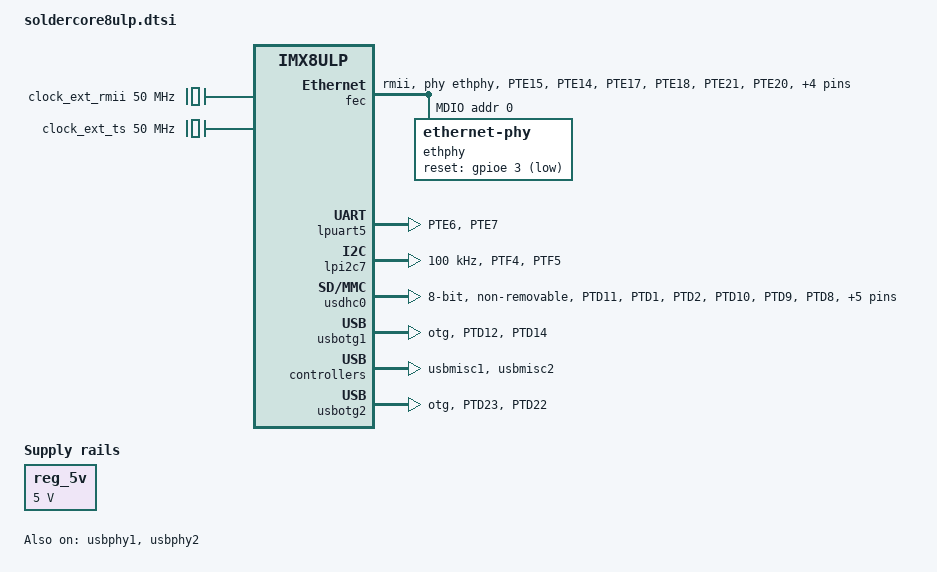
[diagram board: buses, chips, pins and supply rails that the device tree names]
/*
 * Copyright (C) 2024 F&S Elektronik Systeme GmbH
 *
 * This program is free software; you can redistribute it and/or modify
 * it under the terms of the GNU General Public License version 2 as
 * published by the Free Software Foundation.
 */

/dts-v1/;

#include "imx8ulp.dtsi"

/ {
	chosen {
		stdout-path = &lpuart5;
		bootargs = "console=ttyLP1,115200 earlycon";
	};

	reserved-memory {
		#address-cells = <2>;
		#size-cells = <2>;
		ranges;

		linux,cma {
			compatible = "shared-dma-pool";
			reusable;
			size = <0 0x10000000>; /* 256MB */
			linux,cma-default;
		};
	};
	reg_5v: regulator-5v {
		compatible = "regulator-fixed";
		regulator-name = "5V";
		regulator-min-microvolt = <5000000>;
		regulator-max-microvolt = <5000000>;
		regulator-always-on;
	};
};

/* Ethernet decleration */
/ {
	clock_ext_rmii: clock-ext-rmii {
		compatible = "fixed-clock";
		clock-frequency = <50000000>;
		clock-output-names = "ext_rmii_clk";
		#clock-cells = <0>;
	};

	clock_ext_ts: clock-ext-ts {
		compatible = "fixed-clock";
		/*  */
		clock-frequency = <50000000>;
		clock-output-names = "ext_ts_clk";
		#clock-cells = <0>;
	};
};

&fec {
	pinctrl-names = "default", "sleep";
	pinctrl-0 = <&pinctrl_enet>;
	pinctrl-1 = <&pinctrl_enet>;
	clocks = <&cgc1 IMX8ULP_CLK_XBAR_DIVBUS>,
		 <&pcc4 IMX8ULP_CLK_ENET>,
		 <&cgc1 IMX8ULP_CLK_ENET_TS_SEL>,
		 <&clock_ext_rmii>;
	clock-names = "ipg", "ahb", "ptp", "enet_clk_ref";
	assigned-clocks = <&cgc1 IMX8ULP_CLK_ENET_TS_SEL>;
	assigned-clock-parents = <&clock_ext_ts>;
	phy-mode = "rmii";
	phy-handle = <&ethphy>;
	status = "okay";

	mdio {
		#address-cells = <1>;
		#size-cells = <0>;

		ethphy: ethernet-phy@0 {
            // use broadcast addr,
            // since only on phy is in use.
			reg = <0>;
			pinctrl-names = "default", "sleep";
            pinctrl-0 = <&pinctrl_ethphy>;
	        pinctrl-1 = <&pinctrl_ethphy>;
		};
	};
};

&ethphy {
    reset-gpios = <&gpioe 3 GPIO_ACTIVE_LOW>;
};

&iomuxc1 {
	pinctrl_enet: enetgrp {
		fsl,pins = <
			MX8ULP_PAD_PTE15__ENET0_MDC     0x43
			MX8ULP_PAD_PTE14__ENET0_MDIO    0x43
			MX8ULP_PAD_PTE17__ENET0_RXER    0x43
			MX8ULP_PAD_PTE18__ENET0_CRS_DV  0x43
			MX8ULP_PAD_PTE21__ENET0_RXD0	0x43
			MX8ULP_PAD_PTE20__ENET0_RXD1    0x43
			MX8ULP_PAD_PTE16__ENET0_TXEN    0x43
			MX8ULP_PAD_PTE23__ENET0_TXD0    0x43
			MX8ULP_PAD_PTE22__ENET0_TXD1    0x43
			MX8ULP_PAD_PTE19__ENET0_REFCLK  0x42 //PHYAD2
		>;
	};

    pinctrl_ethphy: ethphygrp {
        fsl,pins = <
            MX8ULP_PAD_PTE3__PTE3         0x3	//RST
        >;
    };
};

/* UART decleration */
/* lpuart5 */
&lpuart5 {
	/* console */
	pinctrl-names = "default", "sleep";
	pinctrl-0 = <&pinctrl_lpuart5>;
	pinctrl-1 = <&pinctrl_lpuart5>;
	status = "okay";
};

&iomuxc1 {
	pinctrl_lpuart5: lpuart5grp {
		fsl,pins = <
			MX8ULP_PAD_PTE6__LPUART5_TX     0x3
			MX8ULP_PAD_PTE7__LPUART5_RX 	0x3
		>;
	};
};

/* lpi2c7 */
&lpi2c7 {
    #address-cells = <1>;
	#size-cells = <0>;
	clock-frequency = <100000>;
	pinctrl-names = "default";
	pinctrl-0 = <&pinctrl_lpi2c7>;
	status = "okay";
};

&iomuxc1 {
    pinctrl_lpi2c7: lpi2c7grp {
        fsl,pins = <
			MX8ULP_PAD_PTF4__LPI2C7_SCL	0x20
			MX8ULP_PAD_PTF5__LPI2C7_SDA	0x20
        >;
    };
};

/* USDHC decleration */
/* usdhc0 */
&usdhc0 {
	pinctrl-names = "default", "state_100mhz", "state_200mhz", "sleep";
	pinctrl-0 = <&pinctrl_usdhc0>;
	pinctrl-1 = <&pinctrl_usdhc0>;
	pinctrl-2 = <&pinctrl_usdhc0>;
	pinctrl-3 = <&pinctrl_usdhc0>;
	non-removable;
	bus-width = <8>;
    mmc-hs400-1_8v;
    mmc-hs200-1_8v;
	status = "okay";
};

&iomuxc1 {
	pinctrl_usdhc0: usdhc0grp {
		fsl,pins = <
            MX8ULP_PAD_PTD11__SDHC0_DQS     0x10002
			MX8ULP_PAD_PTD1__SDHC0_CMD	    0x3
			MX8ULP_PAD_PTD2__SDHC0_CLK	    0x10002
			MX8ULP_PAD_PTD10__SDHC0_D0	    0x3
			MX8ULP_PAD_PTD9__SDHC0_D1	    0x3
			MX8ULP_PAD_PTD8__SDHC0_D2	    0x3
			MX8ULP_PAD_PTD7__SDHC0_D3	    0x3
			MX8ULP_PAD_PTD6__SDHC0_D4	    0x3
			MX8ULP_PAD_PTD5__SDHC0_D5	    0x3
			MX8ULP_PAD_PTD4__SDHC0_D6	    0x3
			MX8ULP_PAD_PTD3__SDHC0_D7	    0x3
		>;
	};
};

/* USB decleration */
&usbotg1 {
	pinctrl-names = "default", "sleep";
	pinctrl-0 = <&pinctrl_otgid1>;
	pinctrl-1 = <&pinctrl_otgid1>;
	dr_mode = "otg";
	hnp-disable;
	srp-disable;
	adp-disable;
	over-current-active-low;
	status = "okay";
};

&usbphy1 {
	status = "okay";
};

&usbmisc1 {
	status = "okay";
};

&iomuxc1 {
	pinctrl_otgid1: usb1grp {
		fsl,pins = <
			MX8ULP_PAD_PTD12__USB0_ID	0x10003
			MX8ULP_PAD_PTD14__USB0_OC	0x10003
		>;
	};
};

&usbotg2 {
	status = "okay";
	pinctrl-names = "default", "sleep";
	pinctrl-0 = <&pinctrl_otgid2>;
	pinctrl-1 = <&pinctrl_otgid2>;
	dr_mode = "otg";
	hnp-disable;
	srp-disable;
	adp-disable;
	over-current-active-low;
};

&usbphy2 {
	status = "okay";
};

&usbmisc2 {
	status = "okay";
};

&iomuxc1 {
	pinctrl_otgid2: usb2grp {
		fsl,pins = <
			MX8ULP_PAD_PTD23__USB1_ID	0x10003
			MX8ULP_PAD_PTD22__USB1_OC	0x10003
		>;
	};
};
